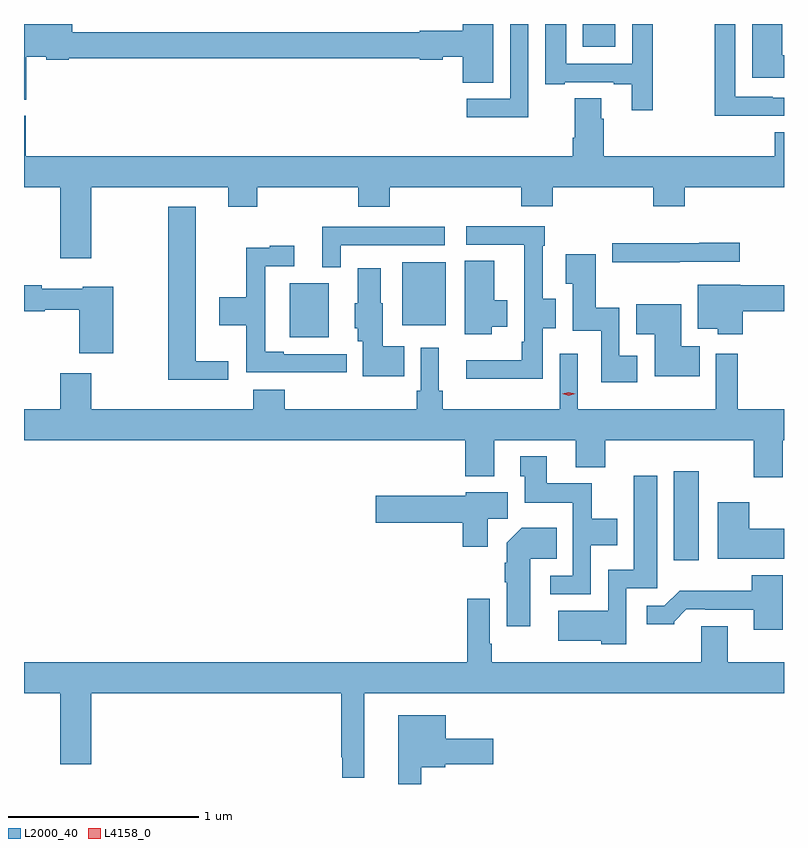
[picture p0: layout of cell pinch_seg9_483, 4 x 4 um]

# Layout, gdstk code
import gdstk
lib = gdstk.Library(unit=1e-6, precision=1e-09)
def R(c, l, rs):  # rectangles x0, y0, x1, y1
    for r in rs: c.add(gdstk.rectangle(r[:2], r[2:], *l))
def P(c, l, *ps):  # polygons
    for p in ps: c.add(gdstk.Polygon(p, *l))
L2000_40 = (2000, 40)
L4158_0 = (4158, 0)

pinch_seg9_483 = lib.new_cell('pinch_seg9_483')
R(pinch_seg9_483, L2000_40, [(372.035,1199.784,372.166,1200.253), (370.013,1200.959,370.219,1201.243), (370.604,1201.022,370.834,1201.354), (371.555,1202.486,371.725,1202.607)])
P(pinch_seg9_483, L2000_40, [(368.627,1202.435),(368.73,1202.435),(368.73,1202.42),(368.85,1202.42),(368.85,1202.428),(370.698,1202.428),(370.698,1202.42),(370.818,1202.42),(370.818,1202.435),(370.922,1202.435),(370.922,1202.299),(371.083,1202.299),(371.083,1202.607),(370.922,1202.607),(370.922,1202.572),(370.698,1202.572),(370.698,1202.564),(368.867,1202.564),(368.867,1202.607),(368.614,1202.607),(368.614,1202.209),(368.627,1202.209)],
  [(371.923,1202.607),(371.814,1202.607),(371.814,1202.397),(371.467,1202.397),(371.467,1202.607),(371.357,1202.607),(371.357,1202.289),(371.461,1202.289),(371.461,1202.301),(371.717,1202.301),(371.717,1202.289),(371.813,1202.289),(371.813,1202.154),(371.923,1202.154)],
  [(371.268,1202.607),(371.172,1202.607),(371.172,1202.214),(370.944,1202.214),(370.944,1202.117),(371.268,1202.117)],
  [(372.614,1202.22),(372.554,1202.22),(372.554,1202.224),(372.357,1202.224),(372.357,1202.607),(372.249,1202.607),(372.249,1202.123),(372.614,1202.123)],
  [(372.614,1202.442),(372.604,1202.442),(372.604,1202.607),(372.446,1202.607),(372.446,1202.325),(372.614,1202.325)],
  [(368.968,1201.748),(369.689,1201.748),(369.689,1201.646),(369.842,1201.646),(369.842,1201.748),(370.373,1201.748),(370.373,1201.646),(370.538,1201.646),(370.538,1201.748),(371.231,1201.748),(371.231,1201.649),(371.396,1201.649),(371.396,1201.748),(371.927,1201.748),(371.927,1201.649),(372.092,1201.649),(372.092,1201.748),(372.614,1201.748),(372.614,1202.038),(372.566,1202.038),(372.566,1201.912),(371.666,1201.912),(371.666,1202.108),(371.653,1202.108),(371.653,1202.216),(371.513,1202.216),(371.513,1202.008),(371.501,1202.008),(371.501,1201.912),(368.624,1201.912),(368.624,1202.124),(368.614,1202.124),(368.614,1201.748),(368.804,1201.748),(368.804,1201.374),(368.968,1201.374)],
  [(369.688,1200.833),(369.517,1200.833),(369.517,1201.645),(369.373,1201.645),(369.373,1200.734),(369.688,1200.734)],
  [(371.343,1201.006),(371.413,1201.006),(371.413,1201.161),(371.343,1201.161),(371.343,1201.439),(371.356,1201.439),(371.356,1201.542),(370.941,1201.542),(370.941,1201.446),(371.246,1201.446),(371.246,1201.249),(371.247,1201.249),(371.247,1200.934),(371.235,1200.934),(371.235,1200.838),(370.941,1200.838),(370.941,1200.74),(371.343,1200.74)],
  [(370.281,1201.443),(370.828,1201.443),(370.828,1201.539),(370.184,1201.539),(370.184,1201.328),(370.281,1201.328)],
  [(372.065,1201.356),(372.382,1201.356),(372.382,1201.457),(372.169,1201.457),(372.169,1201.454),(371.709,1201.454),(371.709,1201.354),(372.065,1201.354)],
  [(370.312,1200.87),(369.982,1200.87),(369.982,1200.883),(369.885,1200.883),(369.885,1201.332),(370.036,1201.332),(370.036,1201.441),(369.908,1201.441),(369.908,1201.43),(369.784,1201.43),(369.784,1201.17),(369.642,1201.17),(369.642,1201.022),(369.784,1201.022),(369.784,1200.774),(370.069,1200.774),(370.069,1200.773),(370.312,1200.773)],
  [(371.842,1200.862),(371.748,1200.862),(371.748,1201.114),(371.623,1201.114),(371.623,1201.396),(371.465,1201.396),(371.465,1201.24),(371.501,1201.24),(371.501,1200.992),(371.652,1200.992),(371.652,1200.722),(371.842,1200.722)],
  [(371.077,1201.013),(371.158,1201.013),(371.158,1201.153),(371.089,1201.153),(371.089,1201.361),(370.934,1201.361),(370.934,1200.974),(371.077,1200.974)],
  [(370.616,1200.91),(370.501,1200.91),(370.501,1201.137),(370.492,1201.137),(370.492,1201.321),(370.37,1201.321),(370.37,1201.137),(370.355,1201.137),(370.355,1201.005),(370.37,1201.005),(370.37,1200.936),(370.397,1200.936),(370.397,1200.752),(370.616,1200.752)],
  [(372.396,1201.096),(372.614,1201.096),(372.614,1201.232),(372.384,1201.232),(372.384,1201.234),(372.161,1201.234),(372.161,1201.004),(372.266,1201.004),(372.266,1200.974),(372.396,1200.974)],
  [(369.084,1201.225),(368.922,1201.225),(368.922,1201.213),(368.708,1201.213),(368.708,1201.232),(368.614,1201.232),(368.614,1201.096),(368.722,1201.096),(368.722,1201.104),(368.906,1201.104),(368.906,1200.873),(369.084,1200.873)],
  [(372.17,1200.91),(372.073,1200.91),(372.073,1201.132),(371.837,1201.132),(371.837,1200.974),(371.933,1200.974),(371.933,1200.752),(372.17,1200.752)],
  [(372.608,1200.416),(372.614,1200.416),(372.614,1200.58),(372.371,1200.58),(372.371,1200.871),(372.255,1200.871),(372.255,1200.58),(371.529,1200.58),(371.529,1200.871),(371.433,1200.871),(371.433,1200.58),(370.817,1200.58),(370.817,1200.676),(370.798,1200.676),(370.798,1200.904),(370.701,1200.904),(370.701,1200.676),(370.681,1200.676),(370.681,1200.58),(369.986,1200.58),(369.986,1200.682),(369.821,1200.682),(369.821,1200.58),(368.968,1200.58),(368.968,1200.769),(368.804,1200.769),(368.804,1200.58),(368.614,1200.58),(368.614,1200.416),(370.937,1200.416),(370.937,1200.227),(371.089,1200.227),(371.089,1200.416),(371.519,1200.416),(371.519,1200.275),(371.672,1200.275),(371.672,1200.416),(372.455,1200.416),(372.455,1200.222),(372.608,1200.222)],
  [(371.598,1199.864),(371.737,1199.864),(371.737,1200.004),(371.601,1200.004),(371.601,1200.19),(371.365,1200.19),(371.365,1200.331),(371.225,1200.331),(371.225,1200.228),(371.249,1200.228),(371.249,1200.086),(371.502,1200.086),(371.502,1199.703),(371.385,1199.703),(371.385,1199.607),(371.598,1199.607)],
  [(371.784,1199.637),(371.947,1199.637),(371.947,1200.229),(371.822,1200.229),(371.822,1199.734),(371.688,1199.734),(371.688,1199.518),(371.427,1199.518),(371.427,1199.36),(371.652,1199.36),(371.652,1199.342),(371.784,1199.342)],
  [(371.056,1200.004),(371.161,1200.004),(371.161,1200.142),(370.938,1200.142),(370.938,1200.123),(370.464,1200.123),(370.464,1199.981),(370.922,1199.981),(370.922,1199.856),(371.056,1199.856)],
  [(372.614,1199.95),(372.43,1199.95),(372.43,1200.091),(372.266,1200.091),(372.266,1199.792),(372.614,1199.792)],
  [(371.278,1199.792),(371.417,1199.792),(371.417,1199.956),(371.234,1199.956),(371.156,1199.878),(371.156,1199.771),(371.144,1199.771),(371.144,1199.668),(371.156,1199.668),(371.156,1199.436),(371.278,1199.436)],
  [(372.608,1199.707),(372.443,1199.707),(372.443,1199.623),(372.064,1199.623),(371.985,1199.544),(371.892,1199.544),(371.892,1199.447),(372.036,1199.447),(372.036,1199.462),(372.1,1199.526),(372.199,1199.526),(372.199,1199.523),(372.455,1199.523),(372.455,1199.418),(372.608,1199.418)],
  [(370.405,1199.084),(372.614,1199.084),(372.614,1199.248),(372.319,1199.248),(372.319,1199.438),(372.179,1199.438),(372.179,1199.248),(371.077,1199.248),(371.077,1199.344),(371.064,1199.344),(371.064,1199.581),(370.948,1199.581),(370.948,1199.248),(368.614,1199.248),(368.614,1199.084),(368.804,1199.084),(368.804,1198.71),(368.968,1198.71),(368.968,1199.084),(370.284,1199.084),(370.284,1198.747),(370.29,1198.747),(370.29,1198.64),(370.405,1198.64)],
  [(370.705,1198.694),(370.83,1198.694),(370.83,1198.712),(371.083,1198.712),(371.083,1198.846),(370.834,1198.846),(370.834,1198.969),(370.583,1198.969),(370.583,1198.607),(370.705,1198.607)])
P(pinch_seg9_483, L4158_0, [(371.481,1200.65),(371.446,1200.66),(371.446,1200.66),(371.446,1200.661),(371.481,1200.67),(371.516,1200.661),(371.516,1200.66),(371.516,1200.66)])

lib.write_gds('pinch_seg9_483.gds')
